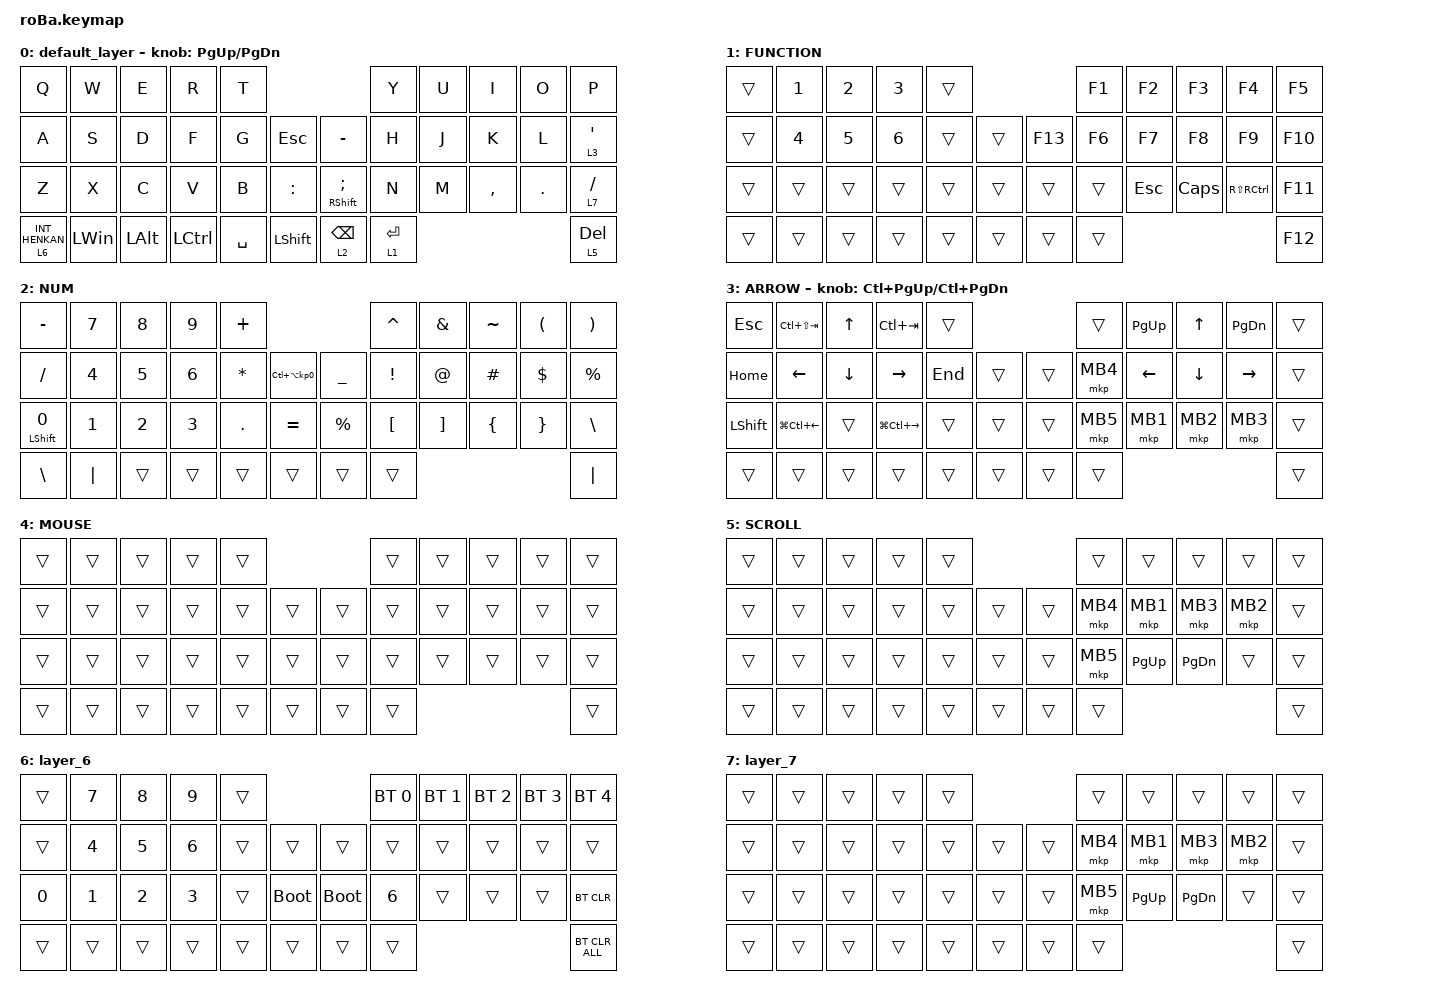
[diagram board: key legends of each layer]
#include <behaviors.dtsi>
#include <dt-bindings/zmk/bt.h>
#include <dt-bindings/zmk/keys.h>
#include <dt-bindings/zmk/pointing.h>

&mt {
    flavor = "balanced";
    quick-tap-ms = <0>;
};

&trackball {
    // automouse-layer = <4>;

    scroll-layers = <5>;

    // arrows {
    //     layers = <3>;
    //     bindings =
    //         <&kp RIGHT_ARROW>,
    //         <&kp LEFT_ARROW>,
    //         <&kp UP_ARROW>,
    //         <&kp DOWN_ARROW>;
    //     tick = <10>;
    //     wait-ms = <5>;
    //     tap-ms = <5>;
    // };
};

/ {
    combos {
        compatible = "zmk,combos";

        tab {
            bindings = <&kp TAB>;
            key-positions = <11 12>;
        };

        shift_tab {
            bindings = <&kp LS(TAB)>;
            key-positions = <12 13>;
        };

        muhennkann {
            bindings = <&to_layer_0 INT_MUHENKAN>;
            key-positions = <11 10>;
        };

        double_quotation {
            bindings = <&kp DOUBLE_QUOTES>;
            key-positions = <20 21>;
        };

        eq {
            bindings = <&kp EQUAL>;
            key-positions = <24 25>;
        };
    };

    macros {
        to_layer_0: to_layer_0 {
            compatible = "zmk,behavior-macro-one-param";
            #binding-cells = <1>;
            bindings = <&to 0 &macro_param_1to1 &kp MACRO_PLACEHOLDER>;
            label = "TO_LAYER_0";
        };
    };

    behaviors {
        lt_to_layer_0: lt_to_layer_0 {
            compatible = "zmk,behavior-hold-tap";
            label = "LAYER_TAP_TO_0";
            bindings = <&mo>, <&to_layer_0>;

            #binding-cells = <2>;
            tapping-term-ms = <200>;
        };
    };

    keymap {
        compatible = "zmk,keymap";

        default_layer {
            bindings = <
&kp Q             &kp W         &kp E         &kp R             &kp T                                                     &kp Y        &kp U  &kp I      &kp O    &kp P
&kp A             &kp S         &kp D         &kp F             &kp G      &kp ESCAPE          &kp MINUS                  &kp H        &kp J  &kp K      &kp L    &lt 3 SQT
&kp Z             &kp X         &kp C         &kp V             &kp B      &kp COLON           &mt RIGHT_SHIFT SEMICOLON  &kp N        &kp M  &kp COMMA  &kp DOT  &lt 7 SLASH
&lt 6 INT_HENKAN  &kp LEFT_WIN  &kp LEFT_ALT  &kp LEFT_CONTROL  &kp SPACE  &kp LEFT_SHIFT      &lt 2 BACKSPACE            &lt 1 ENTER                             &lt 5 DEL
            >;

            sensor-bindings = <&inc_dec_kp PG_UP PAGE_DOWN>;
        };

        FUNCTION {
            bindings = <
&trans  &kp NUMBER_1  &kp NUMBER_2  &kp N3        &trans                       &kp F1  &kp F2      &kp F3    &kp F4                 &kp F5
&trans  &kp N4        &kp NUMBER_5  &kp NUMBER_6  &trans  &trans      &kp F13  &kp F6  &kp F7      &kp F8    &kp F9                 &kp F10
&trans  &trans        &trans        &trans        &trans  &trans      &trans   &trans  &kp ESCAPE  &kp CAPS  &kp RS(RIGHT_CONTROL)  &kp F11
&trans  &trans        &trans        &trans        &trans  &trans      &trans   &trans                                               &kp F12
            >;
        };

        NUM {
            bindings = <
&kp MINUS                &kp NUMBER_7  &kp NUMBER_8  &kp NUMBER_9  &kp PLUS                                                   &kp CARET         &kp AMPERSAND      &kp TILDE       &kp LEFT_PARENTHESIS  &kp RIGHT_PARENTHESIS
&kp SLASH                &kp NUMBER_4  &kp NUMBER_5  &kp NUMBER_6  &kp ASTERISK  &kp LC(LA(KP_NUMBER_0))      &kp UNDERSCORE  &kp EXCLAMATION   &kp AT_SIGN        &kp HASH        &kp DOLLAR            &kp PERCENT
&mt LEFT_SHIFT NUMBER_0  &kp NUMBER_1  &kp NUMBER_2  &kp NUMBER_3  &kp PERIOD    &kp EQUAL                    &kp PERCENT     &kp LEFT_BRACKET  &kp RIGHT_BRACKET  &kp LEFT_BRACE  &kp RIGHT_BRACE       &kp BACKSLASH
&kp BACKSLASH            &kp PIPE      &trans        &trans        &trans        &trans                       &trans          &trans                                                                     &kp PIPE
            >;
        };

        ARROW {
            bindings = <
&kp ESCAPE      &kp LC(LS(TAB))         &kp UP_ARROW    &kp LC(TAB)              &trans                       &trans    &kp PAGE_UP     &kp UP_ARROW    &kp PAGE_DOWN    &trans
&kp HOME        &kp LEFT_ARROW          &kp DOWN_ARROW  &kp RIGHT_ARROW          &kp END  &trans      &trans  &mkp MB4  &kp LEFT_ARROW  &kp DOWN_ARROW  &kp RIGHT_ARROW  &trans
&kp LEFT_SHIFT  &kp LG(LC(LEFT_ARROW))  &trans          &kp LG(LC(RIGHT_ARROW))  &trans   &trans      &trans  &mkp MB5  &mkp MB1        &mkp MB2        &mkp MB3         &trans
&trans          &trans                  &trans          &trans                   &trans   &trans      &trans  &trans                                                     &trans
            >;

            sensor-bindings = <&inc_dec_kp LC(PAGE_UP) LC(PAGE_DOWN)>;
        };

        MOUSE {
            bindings = <
&trans  &trans  &trans  &trans  &trans                      &trans  &trans  &trans  &trans  &trans
&trans  &trans  &trans  &trans  &trans  &trans      &trans  &trans  &trans  &trans  &trans  &trans
&trans  &trans  &trans  &trans  &trans  &trans      &trans  &trans  &trans  &trans  &trans  &trans
&trans  &trans  &trans  &trans  &trans  &trans      &trans  &trans                          &trans
            >;
        };

        SCROLL {
            bindings = <
&trans  &trans  &trans  &trans  &trans                      &trans    &trans       &trans         &trans    &trans
&trans  &trans  &trans  &trans  &trans  &trans      &trans  &mkp MB4  &mkp MB1     &mkp MB3       &mkp MB2  &trans
&trans  &trans  &trans  &trans  &trans  &trans      &trans  &mkp MB5  &kp PAGE_UP  &kp PAGE_DOWN  &trans    &trans
&trans  &trans  &trans  &trans  &trans  &trans      &trans  &trans                                          &trans
            >;
        };

        layer_6 {
            bindings = <
&trans        &kp NUMBER_7  &kp NUMBER_8  &kp NUMBER_9  &trans                                &bt BT_SEL 0  &bt BT_SEL 1  &bt BT_SEL 2  &bt BT_SEL 3  &bt BT_SEL 4
&trans        &kp NUMBER_4  &kp NUMBER_5  &kp NUMBER_6  &trans  &trans           &trans       &trans        &trans        &trans        &trans        &trans
&kp NUMBER_0  &kp NUMBER_1  &kp NUMBER_2  &kp NUMBER_3  &trans  &bootloader      &bootloader  &kp NUMBER_6  &trans        &trans        &trans        &bt BT_CLR
&trans        &trans        &trans        &trans        &trans  &trans           &trans       &trans                                                  &bt BT_CLR_ALL
            >;
        };

        layer_7 {
            bindings = <
&trans  &trans  &trans  &trans  &trans                      &trans    &trans       &trans         &trans    &trans
&trans  &trans  &trans  &trans  &trans  &trans      &trans  &mkp MB4  &mkp MB1     &mkp MB3       &mkp MB2  &trans
&trans  &trans  &trans  &trans  &trans  &trans      &trans  &mkp MB5  &kp PAGE_UP  &kp PAGE_DOWN  &trans    &trans
&trans  &trans  &trans  &trans  &trans  &trans      &trans  &trans                                          &trans
            >;
        };
    };
};
